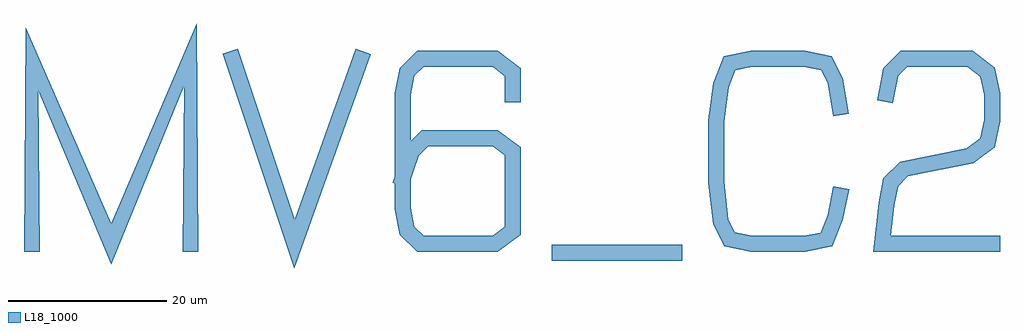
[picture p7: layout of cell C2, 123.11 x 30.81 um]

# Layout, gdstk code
import gdstk
lib = gdstk.Library(unit=1e-6, precision=1e-09)
L18_1000 = (18, 1000)

c_c2 = lib.new_cell('C2')
c_c2.add(gdstk.FlexPath([(-480.012,-306.995),(-480.012,-283.662),(-470.012,-306.995),(-460.012,-283.107),(-460.012,-306.995)], 2, ends="extended", simple_path=True, layer=18, datatype=1000))  # L18_1000
c_c2.add(gdstk.FlexPath([(-454.679,-283.662),(-446.902,-306.995),(-438.568,-283.662)], 2, ends="extended", simple_path=True, layer=18, datatype=1000))  # L18_1000
c_c2.add(gdstk.FlexPath([(-419.347,-288.107),(-419.347,-285.329),(-421.569,-283.662),(-431.013,-283.662),(-432.68,-285.329),(-433.235,-288.107),(-433.235,-302.551),(-432.68,-305.329),(-431.013,-306.995),(-421.569,-306.995),(-419.347,-305.329),(-419.347,-295.329),(-421.569,-293.662),(-430.458,-293.662),(-432.124,-295.329),(-433.235,-298.662)], 2, ends="extended", simple_path=True, layer=18, datatype=1000))  # L18_1000
c_c2.add(gdstk.FlexPath([(-413.458,-308.106),(-399.014,-308.106)], 2, ends="extended", simple_path=True, layer=18, datatype=1000))  # L18_1000
c_c2.add(gdstk.FlexPath([(-378.126,-289.773),(-378.681,-286.44),(-379.793,-284.218),(-382.57,-283.662),(-389.237,-283.662),(-392.015,-284.218),(-393.126,-286.995),(-393.681,-291.44),(-393.681,-299.218),(-393.126,-304.218),(-392.015,-306.44),(-389.237,-306.995),(-382.57,-306.995),(-379.793,-306.44),(-378.681,-303.662),(-378.126,-300.884)], 2, ends="extended", simple_path=True, layer=18, datatype=1000))  # L18_1000
c_c2.add(gdstk.FlexPath([(-372.238,-288.107),(-371.682,-285.329),(-370.016,-283.662),(-361.682,-283.662),(-359.46,-285.329),(-358.905,-288.107),(-358.905,-291.44),(-359.46,-294.218),(-361.682,-295.884),(-370.016,-297.551),(-371.682,-299.218),(-372.238,-301.995),(-372.793,-306.995),(-358.905,-306.995)], 2, ends="extended", simple_path=True, layer=18, datatype=1000))  # L18_1000

lib.write_gds('C2.gds')
